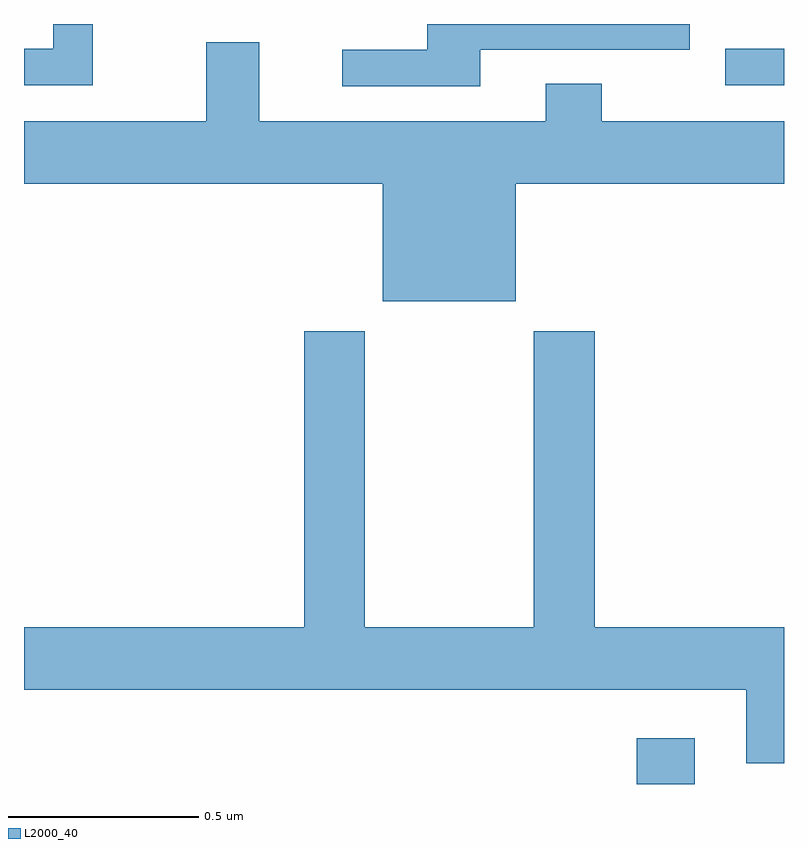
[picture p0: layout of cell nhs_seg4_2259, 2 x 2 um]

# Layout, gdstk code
import gdstk
lib = gdstk.Library(unit=1e-6, precision=1e-09)
def R(c, l, rs):  # rectangles x0, y0, x1, y1
    for r in rs: c.add(gdstk.rectangle(r[:2], r[2:], *l))
def P(c, l, *ps):  # polygons
    for p in ps: c.add(gdstk.Polygon(p, *l))
L2000_40 = (2000, 40)

nhs_seg4_2259 = lib.new_cell('nhs_seg4_2259')
R(nhs_seg4_2259, L2000_40, [(139.613,801.9,139.765,802.021), (139.845,803.739,140,803.835)])
P(nhs_seg4_2259, L2000_40, [(139.201,803.832),(139.752,803.832),(139.752,803.9),(139.061,803.9),(139.061,803.832),(138.837,803.832),(138.837,803.736),(139.201,803.736)],
  [(138.181,803.9),(138.077,803.9),(138.077,803.835),(138,803.835),(138,803.739),(138.181,803.739)],
  [(139.294,803.48),(140,803.48),(140,803.644),(139.521,803.644),(139.521,803.743),(139.373,803.743),(139.373,803.644),(138.619,803.644),(138.619,803.852),(138.479,803.852),(138.479,803.644),(138,803.644),(138,803.48),(138.944,803.48),(138.944,803.171),(139.294,803.171)],
  [(140,802.312),(139.502,802.312),(139.502,803.092),(139.342,803.092),(139.342,802.312),(138.897,802.312),(138.897,803.092),(138.737,803.092),(138.737,802.312),(138,802.312),(138,802.148),(139.901,802.148),(139.901,801.954),(140,801.954)])

lib.write_gds('nhs_seg4_2259.gds')
